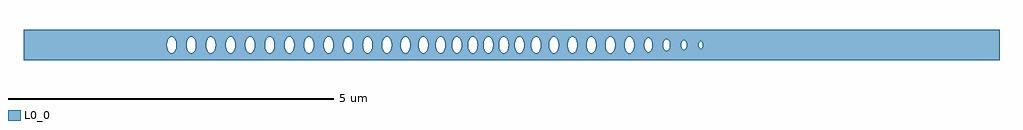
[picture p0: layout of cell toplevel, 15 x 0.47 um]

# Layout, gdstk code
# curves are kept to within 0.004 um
import gdstk
lib = gdstk.Library(unit=1e-6, precision=1e-09)
def P(c, l, *ps):  # polygons
    for p in ps: c.add(gdstk.Polygon(p, *l))
L0_0 = (0, 0)

toplevel = lib.new_cell('toplevel')
P(toplevel, L0_0, [(-4.646,-0.234),(-4.646,-0.119),(-4.666,-0.098),(-4.681,-0.068),(-4.692,-0.008),(-4.681,0.068),(-4.666,0.098),(-4.646,0.119),(-4.646,0.234),(-7.5,0.234),(-7.5,-0.008),(-5.295,-0.008),(-5.29,0.047),(-5.272,0.093),(-5.249,0.119),(-5.222,0.128),(-5.187,0.112),(-5.164,0.075),(-5.152,0.032),(-5.151,-0.016),(-4.993,-0.016),(-4.991,0.032),(-4.98,0.075),(-4.956,0.112),(-4.921,0.128),(-4.894,0.119),(-4.871,0.093),(-4.855,0.054),(-4.849,0.016),(-4.851,-0.032),(-4.862,-0.075),(-4.886,-0.112),(-4.921,-0.128),(-4.948,-0.119),(-4.971,-0.093),(-4.987,-0.054),(-4.993,-0.016),(-5.151,-0.016),(-5.161,-0.068),(-5.176,-0.098),(-5.196,-0.119),(-5.222,-0.128),(-5.249,-0.119),(-5.269,-0.098),(-5.286,-0.061),(-5.295,-0.008),(-7.5,-0.008),(-7.5,-0.234)],
  [(-4.646,0.234),(-4.646,0.119),(-4.62,0.128),(-4.606,0.125),(-4.573,0.098),(-4.552,0.047),(-4.547,-0.008),(-4.391,-0.008),(-4.386,0.047),(-4.368,0.093),(-4.345,0.119),(-4.318,0.128),(-4.292,0.119),(-4.272,0.098),(-4.257,0.068),(-4.246,0.016),(-4.249,-0.039),(-4.26,-0.075),(-4.283,-0.112),(-4.318,-0.128),(-4.345,-0.119),(-4.368,-0.093),(-4.386,-0.047),(-4.391,-0.008),(-4.547,-0.008),(-4.556,-0.061),(-4.581,-0.108),(-4.593,-0.119),(-4.62,-0.128),(-4.646,-0.119),(-4.646,-0.234),(-3.958,-0.234),(-3.958,-0.075),(-3.99,-0.119),(-4.017,-0.128),(-4.044,-0.119),(-4.076,-0.075),(-4.089,-0.016),(-4.087,0.032),(-4.076,0.075),(-4.044,0.119),(-4.017,0.128),(-3.99,0.119),(-3.958,0.075),(-3.958,0.234)],
  [(-3.947,-0.032),(-3.958,-0.075),(-3.958,-0.234),(-3.18,-0.234),(-3.18,-0.047),(-3.185,-0.016),(-3.18,0.234),(-3.958,0.234),(-3.958,0.074),(-3.948,0.039),(-3.945,-0.008),(-3.788,-0.008),(-3.783,0.047),(-3.765,0.093),(-3.742,0.119),(-3.716,0.128),(-3.689,0.119),(-3.666,0.093),(-3.648,0.047),(-3.643,0),(-3.487,0),(-3.478,0.061),(-3.453,0.108),(-3.441,0.119),(-3.414,0.128),(-3.388,0.119),(-3.368,0.098),(-3.353,0.068),(-3.344,0.032),(-3.342,-0.016),(-3.361,-0.087),(-3.379,-0.112),(-3.401,-0.125),(-3.414,-0.128),(-3.441,-0.119),(-3.464,-0.093),(-3.482,-0.047),(-3.487,0),(-3.643,0),(-3.648,-0.047),(-3.666,-0.093),(-3.689,-0.119),(-3.716,-0.128),(-3.742,-0.119),(-3.762,-0.098),(-3.777,-0.068),(-3.788,-0.008),(-3.945,-0.008)],
  [(-2.582,0.016),(-2.569,0.075),(-2.541,0.115),(-2.541,0.234),(-3.18,0.234),(-3.18,0.047),(-3.169,0.081),(-3.152,0.108),(-3.14,0.119),(-3.113,0.128),(-3.086,0.119),(-3.063,0.093),(-3.047,0.054),(-3.041,-0.008),(-2.884,-0.008),(-2.879,0.047),(-2.861,0.093),(-2.838,0.119),(-2.811,0.128),(-2.785,0.119),(-2.765,0.098),(-2.75,0.068),(-2.739,0.008),(-2.744,-0.047),(-2.762,-0.093),(-2.785,-0.119),(-2.811,-0.128),(-2.838,-0.119),(-2.858,-0.098),(-2.873,-0.068),(-2.884,-0.008),(-3.041,-0.008),(-3.047,-0.054),(-3.063,-0.093),(-3.086,-0.119),(-3.113,-0.128),(-3.14,-0.119),(-3.152,-0.108),(-3.169,-0.081),(-3.18,-0.047),(-3.18,-0.234),(-2.541,-0.234),(-2.541,-0.115),(-2.56,-0.093),(-2.574,-0.061)],
  [(-2.533,0.121),(-2.51,0.128),(-2.483,0.119),(-2.471,0.108),(-2.449,0.068),(-2.438,0),(-2.283,0),(-2.276,0.054),(-2.26,0.093),(-2.237,0.119),(-2.21,0.128),(-2.197,0.125),(-2.171,0.108),(-2.154,0.081),(-2.141,0.039),(-2.138,-0.016),(-2.149,-0.068),(-2.164,-0.098),(-2.184,-0.119),(-2.21,-0.128),(-2.237,-0.119),(-2.26,-0.093),(-2.276,-0.054),(-2.283,0),(-2.438,0),(-2.449,-0.068),(-2.471,-0.108),(-2.483,-0.119),(-2.51,-0.128),(-2.541,-0.115),(-2.541,-0.234),(-1.92,-0.234),(-1.92,-0.127),(-1.942,-0.119),(-1.965,-0.093),(-1.983,-0.047),(-1.988,0),(-1.983,0.047),(-1.965,0.093),(-1.942,0.119),(-1.92,0.127),(-1.92,0.234),(-2.541,0.234),(-2.541,0.115)],
  [(-1.92,0.234),(-1.92,0.127),(-1.889,0.119),(-1.862,0.087),(-1.846,0.039),(-1.843,-0.016),(-1.701,-0.016),(-1.699,0.032),(-1.688,0.075),(-1.664,0.112),(-1.629,0.128),(-1.602,0.119),(-1.579,0.093),(-1.563,0.054),(-1.557,0.016),(-1.559,-0.032),(-1.57,-0.075),(-1.594,-0.112),(-1.629,-0.128),(-1.656,-0.119),(-1.679,-0.093),(-1.695,-0.054),(-1.701,-0.016),(-1.843,-0.016),(-1.854,-0.068),(-1.869,-0.098),(-1.889,-0.119),(-1.92,-0.127),(-1.92,-0.234),(-1.295,-0.234),(-1.295,-0.075),(-1.327,-0.119),(-1.354,-0.128),(-1.372,-0.123),(-1.393,-0.108),(-1.407,-0.087),(-1.426,-0.016),(-1.424,0.032),(-1.415,0.068),(-1.4,0.098),(-1.38,0.119),(-1.354,0.128),(-1.327,0.119),(-1.295,0.075),(-1.295,0.234)],
  [(-1.284,-0.032),(-1.295,-0.075),(-1.295,-0.234),(-0.653,-0.234),(-0.653,-0.075),(-0.667,-0.008),(-0.665,0.032),(-0.653,0.074),(-0.653,0.234),(-1.295,0.234),(-1.295,0.074),(-1.286,0.047),(-1.282,-0.008),(-1.163,-0.008),(-1.158,0.047),(-1.14,0.093),(-1.117,0.119),(-1.09,0.128),(-1.056,0.112),(-1.032,0.075),(-1.02,0.032),(-1.019,-0.016),(-0.91,-0.016),(-0.904,0.054),(-0.881,0.103),(-0.852,0.125),(-0.838,0.128),(-0.811,0.119),(-0.779,0.075),(-0.769,0.039),(-0.766,-0.016),(-0.788,-0.093),(-0.803,-0.112),(-0.824,-0.125),(-0.852,-0.125),(-0.881,-0.103),(-0.897,-0.075),(-0.91,-0.016),(-1.019,-0.016),(-1.029,-0.068),(-1.044,-0.098),(-1.064,-0.119),(-1.09,-0.128),(-1.117,-0.119),(-1.137,-0.098),(-1.152,-0.068),(-1.163,-0.008),(-1.282,-0.008)],
  [(-0.19,0.016),(-0.18,0.068),(-0.165,0.098),(-0.145,0.119),(-0.114,0.127),(-0.114,0.234),(-0.653,0.234),(-0.653,0.075),(-0.621,0.119),(-0.594,0.128),(-0.568,0.119),(-0.548,0.098),(-0.533,0.068),(-0.523,0.024),(-0.523,-0.016),(-0.428,-0.016),(-0.425,0.039),(-0.412,0.081),(-0.391,0.112),(-0.356,0.128),(-0.329,0.119),(-0.306,0.093),(-0.29,0.054),(-0.283,0),(-0.29,-0.054),(-0.306,-0.093),(-0.329,-0.119),(-0.351,-0.127),(-0.382,-0.119),(-0.402,-0.098),(-0.417,-0.068),(-0.428,-0.016),(-0.523,-0.016),(-0.527,-0.047),(-0.545,-0.093),(-0.56,-0.112),(-0.581,-0.125),(-0.594,-0.128),(-0.621,-0.119),(-0.653,-0.075),(-0.653,-0.234),(-0.114,-0.234),(-0.114,-0.127),(-0.145,-0.119),(-0.168,-0.093),(-0.186,-0.047)],
  [(-0.047,-0.016),(-0.057,-0.068),(-0.072,-0.098),(-0.092,-0.119),(-0.114,-0.127),(-0.114,-0.234),(0.427,-0.234),(0.427,-0.093),(0.412,-0.112),(0.391,-0.125),(0.378,-0.128),(0.351,-0.119),(0.331,-0.098),(0.316,-0.068),(0.305,-0.008),(0.316,0.068),(0.331,0.098),(0.351,0.119),(0.378,0.128),(0.391,0.125),(0.412,0.112),(0.427,0.093),(0.427,0.234),(-0.114,0.234),(-0.114,0.127),(-0.092,0.119),(-0.069,0.093),(-0.051,0.047),(-0.046,0),(0.05,0),(0.055,0.047),(0.073,0.093),(0.096,0.119),(0.123,0.128),(0.162,0.108),(0.179,0.081),(0.19,0.047),(0.195,-0.016),(0.184,-0.068),(0.162,-0.108),(0.136,-0.125),(0.123,-0.128),(0.096,-0.119),(0.073,-0.093),(0.055,-0.047),(0.05,0),(-0.046,0)],
  [(0.449,-0.016),(0.445,-0.047),(0.427,-0.093),(0.427,-0.234),(1.156,-0.234),(1.156,0.234),(0.427,0.234),(0.427,0.093),(0.445,0.047),(0.45,0),(0.578,0),(0.585,0.054),(0.601,0.093),(0.624,0.119),(0.651,0.128),(0.677,0.119),(0.704,0.087),(0.72,0.039),(0.723,-0.008),(0.865,-0.008),(0.87,0.047),(0.891,0.098),(0.924,0.125),(0.937,0.128),(0.964,0.119),(0.984,0.098),(0.999,0.068),(1.01,-0.008),(1.005,-0.047),(0.987,-0.093),(0.972,-0.112),(0.951,-0.125),(0.919,-0.123),(0.891,-0.098),(0.876,-0.068),(0.865,-0.008),(0.723,-0.008),(0.72,-0.039),(0.704,-0.087),(0.677,-0.119),(0.651,-0.128),(0.624,-0.119),(0.601,-0.093),(0.585,-0.054),(0.578,0),(0.45,0)],
  [(1.741,0.016),(1.754,0.075),(1.774,0.108),(1.774,0.234),(1.156,0.234),(1.156,0.016),(1.167,0.068),(1.182,0.098),(1.202,0.119),(1.228,0.128),(1.255,0.119),(1.278,0.093),(1.296,0.047),(1.3,-0.016),(1.447,-0.016),(1.449,0.032),(1.46,0.075),(1.484,0.112),(1.519,0.128),(1.546,0.119),(1.569,0.093),(1.583,0.061),(1.591,0.016),(1.589,-0.032),(1.578,-0.075),(1.554,-0.112),(1.519,-0.128),(1.492,-0.119),(1.473,-0.098),(1.46,-0.075),(1.447,-0.016),(1.3,-0.016),(1.292,-0.061),(1.271,-0.103),(1.242,-0.125),(1.215,-0.125),(1.193,-0.112),(1.175,-0.087),(1.156,-0.016),(1.156,-0.234),(1.774,-0.234),(1.774,-0.108),(1.747,-0.054)],
  [(2.333,0.023),(2.347,0.067),(2.361,0.083),(2.383,0.092),(2.383,0.234),(1.774,0.234),(1.774,0.108),(1.786,0.119),(1.813,0.128),(1.852,0.108),(1.869,0.081),(1.88,0.047),(1.885,-0.014),(2.042,-0.014),(2.045,0.034),(2.056,0.07),(2.081,0.102),(2.104,0.11),(2.127,0.102),(2.147,0.08),(2.159,0.053),(2.166,0.014),(2.163,-0.034),(2.152,-0.07),(2.131,-0.099),(2.104,-0.11),(2.081,-0.102),(2.061,-0.08),(2.042,-0.014),(1.885,-0.014),(1.874,-0.068),(1.848,-0.112),(1.813,-0.128),(1.786,-0.119),(1.774,-0.108),(1.774,-0.234),(2.383,-0.234),(2.383,-0.092),(2.361,-0.083),(2.341,-0.054),(2.331,-0.011)],
  [(2.433,-0.023),(2.414,-0.074),(2.383,-0.092),(2.383,-0.234),(7.5,-0.234),(7.5,0.234),(2.383,0.234),(2.383,0.092),(2.405,0.083),(2.419,0.067),(2.433,0.028),(2.435,-0.005),(2.608,-0.005),(2.61,0.023),(2.621,0.054),(2.647,0.074),(2.668,0.067),(2.679,0.054),(2.692,0),(2.877,0),(2.887,0.041),(2.907,0.056),(2.928,0.045),(2.939,0.021),(2.935,-0.033),(2.921,-0.052),(2.911,-0.056),(2.897,-0.052),(2.887,-0.041),(2.877,0),(2.692,0),(2.679,-0.054),(2.653,-0.074),(2.632,-0.067),(2.621,-0.054),(2.608,-0.005),(2.435,-0.005)])

lib.write_gds('toplevel.gds')
